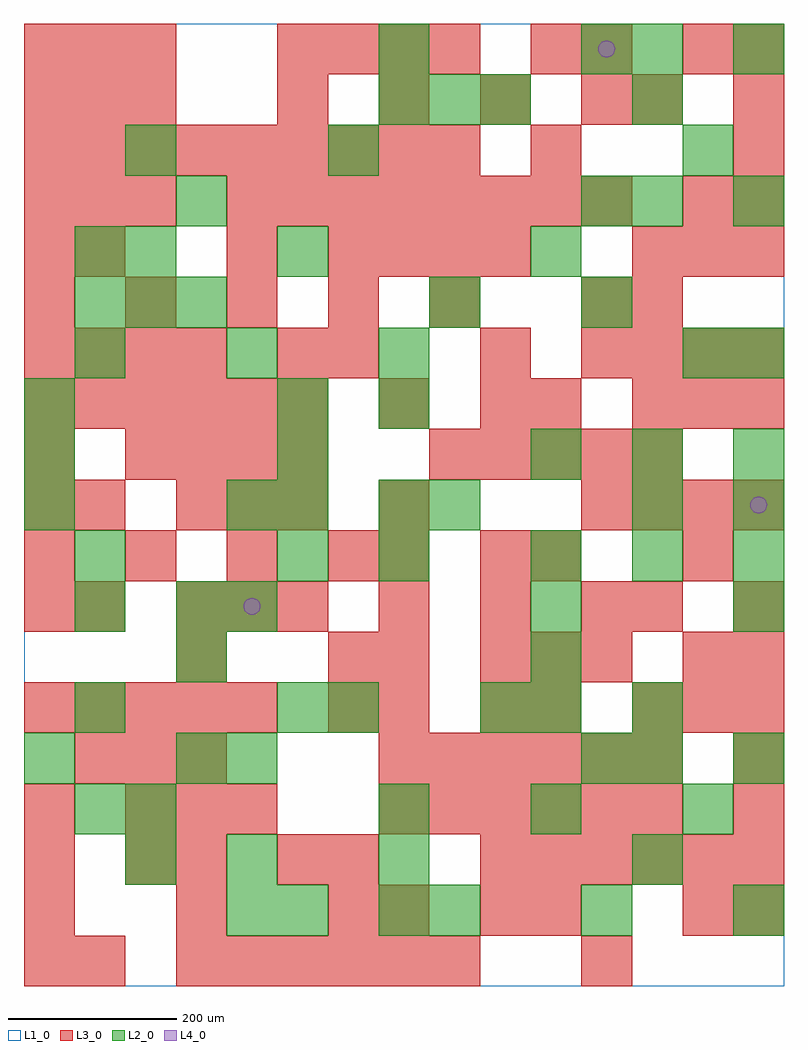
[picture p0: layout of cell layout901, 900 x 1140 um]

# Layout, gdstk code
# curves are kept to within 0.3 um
import gdstk
lib = gdstk.Library(unit=1e-6, precision=1e-09)
def R(c, l, rs):  # rectangles x0, y0, x1, y1
    for r in rs: c.add(gdstk.rectangle(r[:2], r[2:], *l))
def A(c, l, x, y, w, h, nx, ny, dx, dy):  # array of equal rectangles
    R(c, l, [(x+i*dx, y+j*dy, x+i*dx+w, y+j*dy+h) for i in range(nx) for j in range(ny)])
def P(c, l, *ps):  # polygons
    for p in ps: c.add(gdstk.Polygon(p, *l))
L1_0 = (1, 0)
L2_0 = (2, 0)
L3_0 = (3, 0)
L4_0 = (4, 0)

layout901 = lib.new_cell('layout901')
R(layout901, L1_0, [(0,0,900,1140)])
A(layout901, L2_0, 480, 60, 60, 60, 3, 1, 180, 0)
A(layout901, L2_0, 60, 180, 60, 60, 1, 3, 0, 120)
A(layout901, L2_0, 420, 180, 60, 60, 3, 1, 180, 0)
A(layout901, L2_0, 600, 300, 60, 60, 1, 3, 0, 60)
A(layout901, L2_0, 600, 480, 60, 60, 3, 1, 120, 0)
A(layout901, L2_0, 0, 600, 60, 60, 3, 1, 300, 0)
A(layout901, L2_0, 60, 720, 60, 60, 3, 1, 180, 0)
A(layout901, L2_0, 840, 720, 60, 60, 1, 3, 0, 180)
A(layout901, L2_0, 60, 780, 60, 60, 3, 1, 60, 0)
A(layout901, L2_0, 420, 1020, 60, 60, 3, 1, 60, 0)
R(layout901, L2_0, [(240,60,300,120), (300,60,360,120), (420,60,480,120), (120,120,180,180), (240,120,300,180), (420,120,480,180), (720,120,780,180), (120,180,180,240), (0,240,60,300), (180,240,240,300), (240,240,300,300), (660,240,720,300), (720,240,780,300), (840,240,900,300), (300,300,360,360), (360,300,420,360), (540,300,600,360), (720,300,780,360), (180,360,240,420), (180,420,240,480), (240,420,300,480), (840,420,900,480), (60,480,120,540), (300,480,360,540), (420,480,480,540), (0,540,60,600), (240,540,300,600), (300,540,360,600), (420,540,480,600), (480,540,540,600), (720,540,780,600), (840,540,900,600), (720,600,780,660), (840,600,900,660), (0,660,60,720), (300,660,360,720), (420,660,480,720), (780,720,840,780), (480,780,540,840), (660,780,720,840), (60,840,120,900), (120,840,180,900), (300,840,360,900), (600,840,660,900), (180,900,240,960), (660,900,720,960), (720,900,780,960), (120,960,180,1020), (360,960,420,1020), (780,960,840,1020), (720,1020,780,1080), (420,1080,480,1140), (660,1080,720,1140), (720,1080,780,1140)])
A(layout901, L3_0, 180, 0, 60, 60, 6, 1, 60, 0)
A(layout901, L3_0, 0, 60, 60, 60, 3, 1, 180, 0)
A(layout901, L3_0, 540, 120, 60, 60, 6, 1, 60, 0)
A(layout901, L3_0, 120, 180, 60, 60, 3, 1, 60, 0)
A(layout901, L3_0, 420, 180, 60, 60, 6, 2, 60, 60)
A(layout901, L3_0, 60, 240, 60, 60, 3, 1, 60, 0)
A(layout901, L3_0, 0, 300, 60, 60, 5, 1, 60, 0)
A(layout901, L3_0, 540, 300, 60, 60, 1, 3, 0, 180)
A(layout901, L3_0, 600, 300, 60, 60, 1, 3, 0, 180)
A(layout901, L3_0, 720, 300, 60, 60, 3, 2, 60, 360)
A(layout901, L3_0, 540, 360, 60, 60, 3, 1, 60, 0)
A(layout901, L3_0, 180, 420, 60, 60, 3, 2, 60, 120)
A(layout901, L3_0, 420, 420, 60, 60, 3, 1, 120, 0)
A(layout901, L3_0, 0, 480, 60, 60, 4, 1, 120, 0)
A(layout901, L3_0, 660, 540, 60, 60, 4, 2, 60, 180)
A(layout901, L3_0, 120, 600, 60, 60, 4, 1, 60, 0)
A(layout901, L3_0, 480, 600, 60, 60, 5, 1, 60, 0)
A(layout901, L3_0, 0, 660, 60, 60, 6, 1, 60, 0)
A(layout901, L3_0, 0, 720, 60, 60, 4, 1, 60, 0)
A(layout901, L3_0, 0, 780, 60, 60, 5, 1, 120, 0)
A(layout901, L3_0, 360, 840, 60, 60, 4, 1, 60, 0)
A(layout901, L3_0, 720, 840, 60, 60, 3, 1, 60, 0)
A(layout901, L3_0, 0, 900, 60, 60, 3, 2, 60, 120)
A(layout901, L3_0, 240, 900, 60, 60, 8, 1, 60, 0)
A(layout901, L3_0, 840, 900, 60, 60, 1, 4, 0, 60)
A(layout901, L3_0, 0, 960, 60, 60, 9, 1, 60, 0)
A(layout901, L3_0, 300, 1020, 60, 60, 4, 1, 120, 0)
A(layout901, L3_0, 0, 1080, 60, 60, 3, 1, 60, 0)
A(layout901, L3_0, 300, 1080, 60, 60, 4, 1, 60, 0)
R(layout901, L3_0, [(0,0,60,60), (60,0,120,60), (660,0,720,60), (420,60,480,120), (540,60,600,120), (600,60,660,120), (780,60,840,120), (840,60,900,120), (0,120,60,180), (120,120,180,180), (180,120,240,180), (300,120,360,180), (360,120,420,180), (0,180,60,240), (840,180,900,240), (840,240,900,300), (360,300,420,360), (420,300,480,360), (180,360,240,420), (360,360,420,420), (420,360,480,420), (780,360,840,420), (840,360,900,420), (0,420,60,480), (60,420,120,480), (720,420,780,480), (840,420,900,480), (420,480,480,540), (780,480,840,540), (0,540,60,600), (60,540,120,600), (420,540,480,600), (0,600,60,660), (420,660,480,720), (300,720,360,780), (360,720,420,780), (540,720,600,780), (660,780,720,840), (720,780,780,840), (0,840,60,900), (60,840,120,900), (240,840,300,900), (780,900,840,960), (600,960,660,1020), (720,1020,780,1080), (600,1080,660,1140), (660,1080,720,1140), (780,1080,840,1140)])
P(layout901, L4_0, [(280,450),(279.239,453.827),(277.071,457.071),(273.827,459.239),(270,460),(266.173,459.239),(262.929,457.071),(260.761,453.827),(260,450),(260.761,446.173),(262.929,442.929),(266.173,440.761),(270,440),(273.827,440.761),(277.071,442.929),(279.239,446.173)],
  [(700,1110),(699.239,1113.827),(697.071,1117.071),(693.827,1119.239),(690,1120),(686.173,1119.239),(682.929,1117.071),(680.761,1113.827),(680,1110),(680.761,1106.173),(682.929,1102.929),(686.173,1100.761),(690,1100),(693.827,1100.761),(697.071,1102.929),(699.239,1106.173)],
  [(880,570),(879.239,573.827),(877.071,577.071),(873.827,579.239),(870,580),(866.173,579.239),(862.929,577.071),(860.761,573.827),(860,570),(860.761,566.173),(862.929,562.929),(866.173,560.761),(870,560),(873.827,560.761),(877.071,562.929),(879.239,566.173)])

lib.write_gds('layout901.gds')
